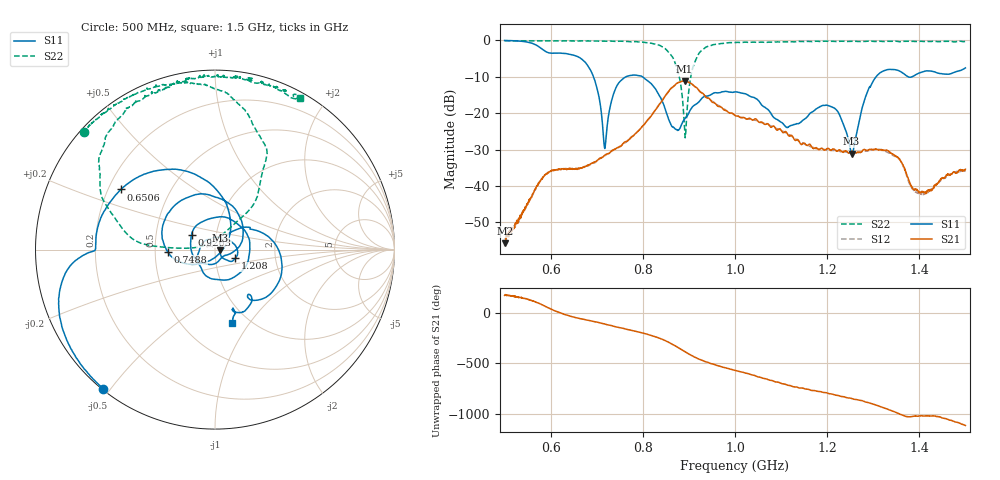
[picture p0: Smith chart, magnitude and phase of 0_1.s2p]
!Agilent Technologies,E8364B,US42250235,A.06.04.32
!Agilent E8364B: A.06.04.32
!Date: Friday, January 15, 2021 14:15:39
!Correction: S11(Full 2 Port(1,2)) S21(Full 2 Port(1,2)) S12(Full 2 Port(1,2)) S22(Full 2 Port(1,2))
!S2P File: Measurements: S11, S21, S12, S22:
# Hz S  dB  R 50
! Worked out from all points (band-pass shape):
!   1601 points, 500 MHz to 1.5 GHz, reference 50 ohm
!   highest |S21| = -11.21 dB at 890.6 MHz (marker M1); lowest = -55.8 dB at 500.6 MHz (marker M2)
!   |S21| within 3 dB of the highest: 855.1 MHz to 924.4 MHz (69.36 MHz wide, 7.8 % of centre)
!   lowest |S11| = -31.2 dB at 1.253 GHz (marker M3), VSWR 1.06, Z = 52.8 - j0.398 ohm
!   |S11| at or under -10 dB: 692.9 MHz to 763.6 MHz (70.76 MHz wide, 9.72 % of centre); 799 MHz to 1.306 GHz (507.4 MHz wide, 48.2 % of centre); 1.375 GHz to 1.384 GHz (9.303 MHz wide, 0.674 % of centre)
!   |S22| runs from -26.8 to -0.1 dB; largest |S21 - S12| = 0.0053
!   S11 on the Smith chart (normalised r, x): 500 MHz: 0.00, -0.48; 650.6 MHz: 0.25, +0.28; 748.8 MHz: 0.58, -0.01; 926.2 MHz: 0.76, +0.13; 1.208 GHz: 1.25, -0.12; 1.5 GHz: 0.84, -0.83
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5e8  -0.05 -128.9  -55.02 169.2  -56.53 174.6  -0.14 138.1
5.00625e8  -0.06 -129.1  -55.79 171.9  -54.87 170.9  -0.15 138.1
5.85e8  -2.74 -177.7  -37.32 68.2  -37.33 67.7  -0.16 129.8
6.50625e8  -4.13 147.4  -35.38 -45.2  -35.15 -46.4  -0.18 123.7
6.66875e8  -5.11 128.2  -35.15 -62.5  -35.13 -63.4  -0.18 121.2
6.975e8  -11.75 75.4  -33.31 -92.3  -33.42 -91.7  -0.19 117.8
7.175e8  -29.72 -46.7  -31.56 -112.9  -31.72 -113.7  -0.25 115.2
7.4875e8  -11.55 -177.5  -29.22 -148.1  -29.36 -148.2  -0.23 109.8
7.95625e8  -9.80 107.4  -24.11 163.1  -24.17 162.8  -0.50 100.2
8.3375e8  -14.74 31.0  -18.03 111.2  -17.95 111.0  -1.25 84.7
8.70625e8  -24.42 -35.8  -12.19 31.2  -12.21 30.6  -6.44 57.3
8.90625e8  -21.60 -99.5  -11.21 -23.3  -11.21 -23.2  -24.94 86.2
9.2625e8  -16.21 147.5  -14.37 -105.6  -14.29 -106.4  -2.96 153.5
1e9  -14.19 -21.1  -20.65 150.3  -20.50 149.8  -0.64 119.2
1.111875e9  -23.86 109.2  -25.32 7.7  -25.49 8.3  -0.44 103.6
1.166875e9  -19.72 23.0  -29.31 -47.4  -29.30 -46.3  -0.35 96.3
1.208125e9  -18.19 -23.0  -30.16 -80.8  -30.28 -81.9  -0.27 92.6
1.253125e9  -31.16 -7.8  -30.47 -126.2  -30.80 -127.6  -0.29 87.0
1.2875e9  -14.05 38.4  -30.30 -164.5  -30.25 -164.7  -0.26 82.7
1.33375e9  -8.00 -24.6  -30.48 123.4  -30.94 124.1  -0.26 78.7
1.40125e9  -8.92 -55.8  -41.90 61.7  -42.05 64.4  -0.30 71.9
1.5e9  -7.58 -76.9  -35.42 -31.4  -35.92 -32.9  -0.31 60.8
